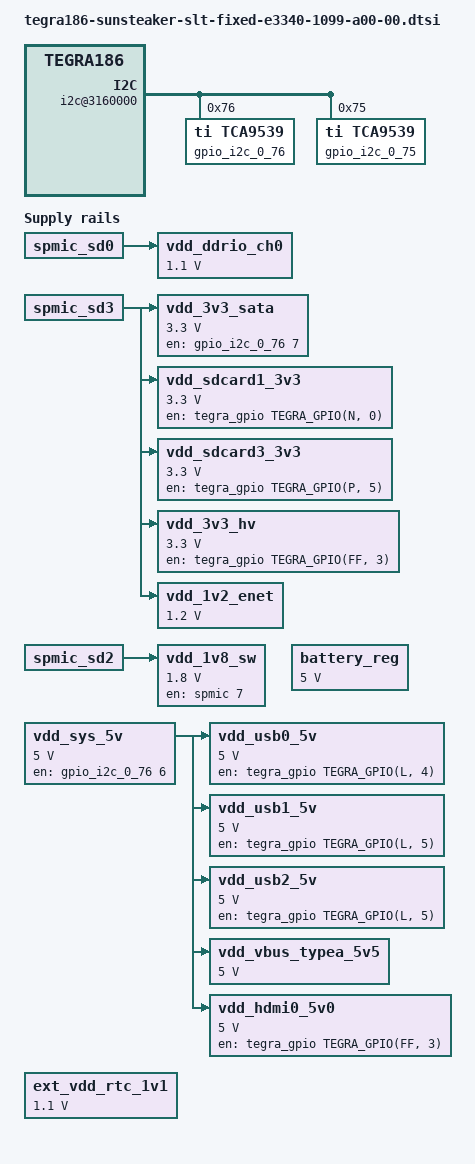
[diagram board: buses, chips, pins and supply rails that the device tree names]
/*
 * Copyright (c) 2015, NVIDIA CORPORATION.  All rights reserved.
 *
 * This program is free software; you can redistribute it and/or modify
 * it under the terms of the GNU General Public License as published by
 * the Free Software Foundation; either version 2 of the License, or
 * (at your option) any later version.
 *
 * This program is distributed in the hope that it will be useful, but WITHOUT
 * ANY WARRANTY; without even the implied warranty of MERCHANTABILITY or
 * FITNESS FOR A PARTICULAR PURPOSE.  See the GNU General Public License for
 * more details.
 */

#include <dt-bindings/gpio/tegra-gpio.h>

/ {
	i2c@3160000 {
		gpio_i2c_0_76: gpio@76 {
			compatible = "ti,tca9539";
			reg = <0x76>;
			gpio-controller;
			#gpio-cells = <2>;
			xusb_lane0_mux {
				gpio-output-low = <9>;
				status = "okay";
			};
			pcie1_lane0_mux {
				gpio-output-high = <9>;
				status = "disabled";
			};
			xusb_lane1_mux {
				gpio-output-low = <10>;
				status = "okay";
			};
			pcie0_lane1_mux {
				gpio-output-high = <10>;
				status = "disabled";
			};
			xusb_lane2_mux {
				gpio-output-low = <11>;
				status = "okay";
			};
			pcie0_lane2_mux {
				gpio-output-high = <11>;
				status = "disabled";
			};
			pcie2_lane3_mux {
				gpio-output-low = <12>;
				status = "okay";
			};
			pcie0_lane3_mux {
				gpio-output-high = <12>;
				status = "disabled";
			};
			ufs_lane4_mux {
				gpio-output-low = <13>;
				status = "disabled";
			};
			pcie0_lane4_mux {
				gpio-output-high = <13>;
				status = "okay";
			};
			ufs_lane5_mux {
				gpio-output-low = <14>;
				status = "disabled";
			};
			sata_lane5_mux {
				gpio-output-high = <14>;
				status = "okay";
			};
		};

		gpio_i2c_0_75: gpio@75 {
			compatible = "ti,tca9539";
			reg = <0x75>;
			gpio-controller;
			#gpio-cells = <2>;
		};

	};

	fixed-regulators {
		battery_reg: regulator@0 {
			compatible = "regulator-fixed";
			reg = <0>;
			regulator-name = "vdd-ac-bat";
			regulator-min-microvolt = <5000000>;
			regulator-max-microvolt = <5000000>;
			regulator-always-on;
		};


		vdd_ddrio_ch0: regulator@1 {
			compatible = "regulator-fixed-sync";
			reg = <1>;
			regulator-name = "vdd-ddrio-ch0";
			regulator-min-microvolt = <1100000>;
			regulator-max-microvolt = <1100000>;
			regulator-always-on;
			regulator-boot-on;
			vin-supply = <&spmic_sd0>;
		};

		vdd_sys_5v: regulator@2 {
			compatible = "regulator-fixed-sync";
			reg = <2>;
			regulator-name = "vdd-sys-5v";
			regulator-min-microvolt = <5000000>;
			regulator-max-microvolt = <5000000>;
			gpio = <&gpio_i2c_0_76 6 0>;
			enable-active-high;
		};

		vdd_3v3_sata: regulator@3 {
			compatible = "regulator-fixed";
			reg = <3>;
			regulator-name = "vdd-3v3-sata";
			regulator-min-microvolt = <3300000>;
			regulator-max-microvolt = <3300000>;
			gpio = <&gpio_i2c_0_76 7 0>;
			enable-active-high;
			vin-supply = <&spmic_sd3>;
		};

		vdd_usb0_5v: regulator@4 {
			compatible = "regulator-fixed-sync";
			reg = <4>;
			regulator-name = "vdd-usb0-5v";
			regulator-min-microvolt = <5000000>;
			regulator-max-microvolt = <5000000>;
			gpio = <&tegra_gpio TEGRA_GPIO(L, 4) 0>;
			enable-active-high;
			vin-supply = <&vdd_sys_5v>;
		};

		vdd_usb1_5v: regulator@5 {
			compatible = "regulator-fixed-sync";
			reg = <5>;
			regulator-name = "vdd-usb1-5v";
			regulator-min-microvolt = <5000000>;
			regulator-max-microvolt = <5000000>;
			gpio = <&tegra_gpio TEGRA_GPIO(L, 5) 0>;
			enable-active-high;
			vin-supply = <&vdd_sys_5v>;
		};

		vdd_usb2_5v: regulator@6 {
			compatible = "regulator-fixed-sync";
			reg = <6>;
			regulator-name = "vdd-usb2-5v";
			regulator-min-microvolt = <5000000>;
			regulator-max-microvolt = <5000000>;
			gpio = <&tegra_gpio TEGRA_GPIO(L, 5) 0>;
			enable-active-high;
			vin-supply = <&vdd_sys_5v>;
		};

		vdd_sdcard1_3v3: regulator@7 {
			compatible = "regulator-fixed-sync";
			reg = <7>;
			regulator-name = "vdd-sdcard1";
			regulator-min-microvolt = <3300000>;
			regulator-max-microvolt = <3300000>;
			gpio = <&tegra_gpio TEGRA_GPIO(N, 0) 0>;
			enable-active-high;
			vin-supply = <&spmic_sd3>;
		};

		vdd_sdcard3_3v3: regulator@8 {
			compatible = "regulator-fixed-sync";
			reg = <8>;
			regulator-name = "vdd-sdcard3";
			regulator-min-microvolt = <3300000>;
			regulator-max-microvolt = <3300000>;
			gpio = <&tegra_gpio TEGRA_GPIO(P, 5) 0>;
			enable-active-high;
			vin-supply = <&spmic_sd3>;
		};

		vdd_3v3_hv: regulator@9 {
			compatible = "regulator-fixed-sync";
			reg = <9>;
			regulator-name = "vdd-3v3-hv";
			regulator-min-microvolt = <3300000>;
			regulator-max-microvolt = <3300000>;
			gpio = <&tegra_gpio TEGRA_GPIO(FF, 3) 0>;
			enable-active-high;
			vin-supply = <&spmic_sd3>;
		};

		ext_vdd_rtc_1v1: regulator@10 {
			compatible = "regulator-fixed";
			reg = <10>;
			regulator-name = "ext-vdd-rtc-1v1";
			regulator-min-microvolt = <1100000>;
			regulator-max-microvolt = <1100000>;
		};

		vdd_vbus_typea_5v5: regulator@11 {
			compatible = "regulator-fixed";
			reg = <11>;
			regulator-name = "vdd-vbus-typea-5v5";
			regulator-min-microvolt = <5000000>;
			regulator-max-microvolt = <5000000>;
			vin-supply = <&vdd_sys_5v>;
		};

		vdd_1v2_enet: regulator@12 {
			compatible = "regulator-fixed";
			reg = <12>;
			regulator-name = "vdd-1v2-enet";
			regulator-min-microvolt = <1200000>;
			regulator-max-microvolt = <1200000>;
			vin-supply = <&spmic_sd3>;
		};

		vdd_hdmi0_5v0: regulator@13 {
			compatible = "regulator-fixed-sync";
			reg = <13>;
			regulator-name = "vdd-hdmi0-5v0";
			regulator-min-microvolt = <5000000>;
			regulator-max-microvolt = <5000000>;
			gpio = <&tegra_gpio TEGRA_GPIO(FF, 3) 0>;
			enable-active-high;
			vin-supply = <&vdd_sys_5v>;
		};

		vdd_1v8_sw: regulator@14 {
			compatible = "regulator-fixed-sync";
			reg = <14>;
			regulator-name = "vdd-1v8-sw";
			regulator-min-microvolt = <1800000>;
			regulator-max-microvolt = <1800000>;
			vin-supply = <&spmic_sd2>;
			gpio = <&spmic 7 0>;
			regulator-always-on;
			regulator-boot-on;
			enable-active-high;
		};
	};
};
